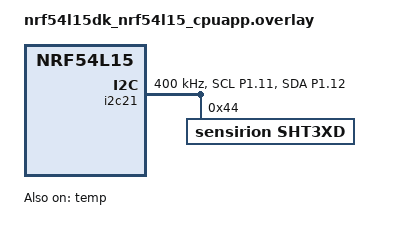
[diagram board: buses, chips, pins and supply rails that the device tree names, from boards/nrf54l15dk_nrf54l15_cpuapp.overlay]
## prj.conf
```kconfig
CONFIG_GPIO=y
CONFIG_INPUT=y
CONFIG_LED=y

# BT CONFIG
CONFIG_BT=y
CONFIG_LOG=y
CONFIG_BT_SMP=y
CONFIG_BT_PERIPHERAL=y
CONFIG_BT_DIS=y
CONFIG_BT_DIS_PNP=n
CONFIG_BT_DEVICE_NAME="icon_faces"
CONFIG_BT_DEVICE_APPEARANCE=768
CONFIG_BT_MAX_CONN=1

CONFIG_BT_BAS=y

CONFIG_BT_MAX_PAIRED=2

CONFIG_BT_SMP_APP_PAIRING_ACCEPT=y
CONFIG_BT_SETTINGS=y
CONFIG_SETTINGS=y
CONFIG_FLASH=y
CONFIG_FLASH_MAP=y
CONFIG_NVS=y

# Allow overwriting oldest bond when storage is full
CONFIG_BT_KEYS_OVERWRITE_OLDEST=y
CONFIG_BT_KEYS_SAVE_AGING_COUNTER_ON_PAIRING=y

# Increased stack due to settings API usage
CONFIG_SYSTEM_WORKQUEUE_STACK_SIZE=2048

# DEBUG
CONFIG_CBPRINTF_FP_SUPPORT=y

# Disassembly listing output (build/zephyr/zephyr.lst)
CONFIG_OUTPUT_DISASSEMBLY=y
CONFIG_OUTPUT_DISASSEMBLY_WITH_SOURCE=y
CONFIG_OUTPUT_SYMBOLS=y

# Shell
CONFIG_SHELL=y
CONFIG_SHELL_BACKEND_SERIAL=y

# SHT3x
CONFIG_SENSOR=y
CONFIG_SHT3XD=y
CONFIG_TEMP_NRF5=y
```

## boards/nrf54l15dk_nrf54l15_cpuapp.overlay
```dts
/*
 * SHT3x temperature/humidity sensor — placeholder wiring (sensor not yet connected)
 */

&pinctrl {
	i2c21_default: i2c21_default {
		group1 {
			psels = <NRF_PSEL(TWIM_SCL, 1, 11)>,
				<NRF_PSEL(TWIM_SDA, 1, 12)>;
		};
	};

	i2c21_sleep: i2c21_sleep {
		group1 {
			psels = <NRF_PSEL(TWIM_SCL, 1, 11)>,
				<NRF_PSEL(TWIM_SDA, 1, 12)>;
			low-power-enable;
		};
	};
};

&i2c21 {
	status = "okay";
	pinctrl-0 = <&i2c21_default>;
	pinctrl-1 = <&i2c21_sleep>;
	pinctrl-names = "default", "sleep";
	clock-frequency = <I2C_BITRATE_FAST>;

	sht3xd: sht3xd@44 {
		compatible = "sensirion,sht3xd";
		reg = <0x44>;
	};
};

&mx25r64 {
	status = "disabled";
};

&temp{
	status = "okay";
};
```

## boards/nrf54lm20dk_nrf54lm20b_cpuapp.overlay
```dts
/*
 * SHT3x temperature/humidity sensor — placeholder wiring (sensor not yet connected)
 */

&pinctrl {
	i2c21_default: i2c21_default {
		group1 {
			psels = <NRF_PSEL(TWIM_SCL, 1, 11)>,
				<NRF_PSEL(TWIM_SDA, 1, 12)>;
		};
	};

	i2c21_sleep: i2c21_sleep {
		group1 {
			psels = <NRF_PSEL(TWIM_SCL, 1, 11)>,
				<NRF_PSEL(TWIM_SDA, 1, 12)>;
			low-power-enable;
		};
	};
};

&i2c21 {
	status = "okay";
	pinctrl-0 = <&i2c21_default>;
	pinctrl-1 = <&i2c21_sleep>;
	pinctrl-names = "default", "sleep";
	clock-frequency = <I2C_BITRATE_FAST>;

	sht3xd: sht3xd@44 {
		compatible = "sensirion,sht3xd";
		reg = <0x44>;
	};
};

&mx25r64 {
	status = "disabled";
};

&temp {
	status = "okay";
};
```

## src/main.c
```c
/*
 * Copyright (c) 2012-2014 Wind River Systems, Inc.
 *
 * SPDX-License-Identifier: Apache-2.0
 */

#include <zephyr/kernel.h>
#include <zephyr/drivers/timer/nrf_grtc_timer.h>

#include <zephyr/logging/log.h>
LOG_MODULE_REGISTER(main, LOG_LEVEL_DBG);


int main(void)
{	
	while (1) {
		uint64_t now_ticks = z_nrf_grtc_timer_read();
		uint64_t now_sec   = now_ticks / sys_clock_hw_cycles_per_sec();

		k_sleep(K_MSEC(1000));
	}

	return 0;
}
```
